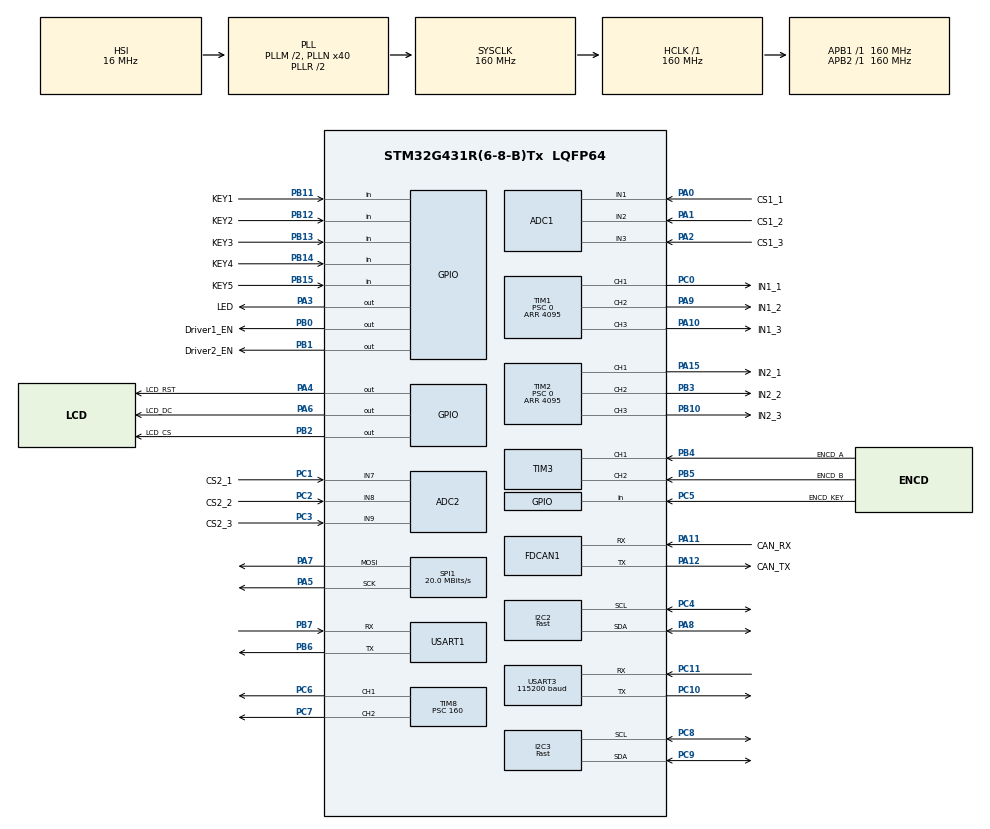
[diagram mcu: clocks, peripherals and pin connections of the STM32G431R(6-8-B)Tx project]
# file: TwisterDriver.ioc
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ADC1.Channel-3\#ChannelRegularConversion=ADC_CHANNEL_1
ADC1.Channel-4\#ChannelRegularConversion=ADC_CHANNEL_2
ADC1.Channel-5\#ChannelRegularConversion=ADC_CHANNEL_3
ADC1.ClockPrescaler=ADC_CLOCK_ASYNC_DIV10
ADC1.DiscontinuousConvMode=ENABLE
ADC1.NbrOfConversion=3
ADC1.NbrOfConversionFlag=1
ADC1.OffsetNumber-3\#ChannelRegularConversion=ADC_OFFSET_NONE
ADC1.OffsetNumber-4\#ChannelRegularConversion=ADC_OFFSET_NONE
ADC1.OffsetNumber-5\#ChannelRegularConversion=ADC_OFFSET_NONE
ADC1.Rank-3\#ChannelRegularConversion=1
ADC1.Rank-4\#ChannelRegularConversion=2
ADC1.Rank-5\#ChannelRegularConversion=3
ADC1.SamplingTime-3\#ChannelRegularConversion=ADC_SAMPLETIME_12CYCLES_5
ADC1.SamplingTime-4\#ChannelRegularConversion=ADC_SAMPLETIME_12CYCLES_5
ADC1.SamplingTime-5\#ChannelRegularConversion=ADC_SAMPLETIME_12CYCLES_5
ADC1.master=1
ADC2.Channel-0\#ChannelRegularConversion=ADC_CHANNEL_7
ADC2.Channel-1\#ChannelRegularConversion=ADC_CHANNEL_8
ADC2.Channel-2\#ChannelRegularConversion=ADC_CHANNEL_9
ADC2.ClockPrescaler=ADC_CLOCK_ASYNC_DIV10
ADC2.ContinuousConvMode=DISABLE
ADC2.DiscontinuousConvMode=ENABLE
ADC2.NbrOfConversion=3
ADC2.NbrOfConversionFlag=1
ADC2.OffsetNumber-0\#ChannelRegularConversion=ADC_OFFSET_NONE
ADC2.OffsetNumber-1\#ChannelRegularConversion=ADC_OFFSET_NONE
ADC2.OffsetNumber-2\#ChannelRegularConversion=ADC_OFFSET_NONE
ADC2.Rank-0\#ChannelRegularConversion=1
ADC2.Rank-1\#ChannelRegularConversion=2
ADC2.Rank-2\#ChannelRegularConversion=3
ADC2.SamplingTime-0\#ChannelRegularConversion=ADC_SAMPLETIME_6CYCLES_5
ADC2.SamplingTime-1\#ChannelRegularConversion=ADC_SAMPLETIME_6CYCLES_5
ADC2.SamplingTime-2\#ChannelRegularConversion=ADC_SAMPLETIME_6CYCLES_5
Dma.ADC2.2.Direction=DMA_PERIPH_TO_MEMORY
Dma.ADC2.2.EventEnable=DISABLE
Dma.ADC2.2.Instance=DMA1_Channel4
Dma.ADC2.2.MemDataAlignment=DMA_MDATAALIGN_HALFWORD
Dma.ADC2.2.MemInc=DMA_MINC_ENABLE
Dma.ADC2.2.Mode=DMA_NORMAL
Dma.ADC2.2.PeriphDataAlignment=DMA_PDATAALIGN_HALFWORD
Dma.ADC2.2.PeriphInc=DMA_PINC_DISABLE
Dma.ADC2.2.Polarity=HAL_DMAMUX_REQ_GEN_RISING
Dma.ADC2.2.Priority=DMA_PRIORITY_LOW
Dma.ADC2.2.RequestNumber=1
Dma.ADC2.2.SignalID=NONE
Dma.ADC2.2.SyncEnable=DISABLE
Dma.ADC2.2.SyncPolarity=HAL_DMAMUX_SYNC_NO_EVENT
Dma.ADC2.2.SyncRequestNumber=1
Dma.ADC2.2.SyncSignalID=NONE
Dma.Request0=SPI1_TX
Dma.Request1=USART3_RX
Dma.Request2=ADC2
Dma.SPI1_TX.0.Direction=DMA_MEMORY_TO_PERIPH
Dma.SPI1_TX.0.EventEnable=DISABLE
Dma.SPI1_TX.0.Instance=DMA1_Channel1
Dma.SPI1_TX.0.MemDataAlignment=DMA_MDATAALIGN_BYTE
Dma.SPI1_TX.0.MemInc=DMA_MINC_ENABLE
Dma.SPI1_TX.0.Mode=DMA_NORMAL
Dma.SPI1_TX.0.PeriphDataAlignment=DMA_PDATAALIGN_BYTE
Dma.SPI1_TX.0.PeriphInc=DMA_PINC_DISABLE
Dma.SPI1_TX.0.Polarity=HAL_DMAMUX_REQ_GEN_RISING
Dma.SPI1_TX.0.Priority=DMA_PRIORITY_LOW
Dma.SPI1_TX.0.RequestNumber=1
Dma.SPI1_TX.0.SignalID=NONE
Dma.SPI1_TX.0.SyncEnable=DISABLE
Dma.SPI1_TX.0.SyncPolarity=HAL_DMAMUX_SYNC_NO_EVENT
Dma.SPI1_TX.0.SyncRequestNumber=1
Dma.SPI1_TX.0.SyncSignalID=NONE
Dma.USART3_RX.1.Direction=DMA_PERIPH_TO_MEMORY
Dma.USART3_RX.1.EventEnable=DISABLE
Dma.USART3_RX.1.Instance=DMA1_Channel2
Dma.USART3_RX.1.MemDataAlignment=DMA_MDATAALIGN_BYTE
Dma.USART3_RX.1.MemInc=DMA_MINC_ENABLE
Dma.USART3_RX.1.Mode=DMA_NORMAL
Dma.USART3_RX.1.PeriphDataAlignment=DMA_PDATAALIGN_BYTE
Dma.USART3_RX.1.PeriphInc=DMA_PINC_DISABLE
Dma.USART3_RX.1.Polarity=HAL_DMAMUX_REQ_GEN_RISING
Dma.USART3_RX.1.Priority=DMA_PRIORITY_LOW
Dma.USART3_RX.1.RequestNumber=1
Dma.USART3_RX.1.SignalID=NONE
Dma.USART3_RX.1.SyncEnable=DISABLE
Dma.USART3_RX.1.SyncPolarity=HAL_DMAMUX_SYNC_NO_EVENT
Dma.USART3_RX.1.SyncRequestNumber=1
Dma.USART3_RX.1.SyncSignalID=NONE
FDCAN1.CalculateBaudRateNominal=2000000
FDCAN1.CalculateTimeBitNominal=500
FDCAN1.CalculateTimeQuantumNominal=100.0
FREERTOS.Tasks01=defaultTask,0,128,StartDefaultTask,Default,NULL,Dynamic,NULL,NULL
FREERTOS.configENABLE_FPU=1
FREERTOS.configTOTAL_HEAP_SIZE=2048 * 10
I2C2.I2C_Speed_Mode=I2C_Fast
I2C2.Timing=0x00F07BFF
I2C3.I2C_Speed_Mode=I2C_Fast
I2C3.Timing=0x00F07BFF
Mcu.Family=STM32G4
Mcu.Name=STM32G431R(6-8-B)Tx
Mcu.Package=LQFP64
NVIC.DMA1_Channel1_IRQn=true\:5\:0\:false\:false\:true\:true\:false\:true\:true
NVIC.DMA1_Channel2_IRQn=true\:5\:0\:false\:false\:true\:true\:false\:true\:true
NVIC.DMA1_Channel4_IRQn=true\:5\:0\:false\:false\:true\:true\:false\:true\:true
NVIC.PriorityGroup=NVIC_PRIORITYGROUP_4
NVIC.TIM7_IRQn=true\:5\:0\:false\:false\:true\:true\:true\:true\:true
NVIC.USART1_IRQn=true\:6\:0\:true\:false\:true\:true\:true\:true\:true
NVIC.USART3_IRQn=true\:6\:0\:true\:false\:true\:true\:true\:true\:true
PA0.GPIO_Label=CS1_1
PA0.Signal=SharedAnalog_PA0
PA1.GPIO_Label=CS1_2
PA1.Signal=SharedAnalog_PA1
PA10.GPIO_Label=IN1_3
PA10.Signal=S_TIM1_CH3
PA11.GPIO_Label=CAN_RX
PA11.Mode=FDCAN_Activate
PA11.Signal=FDCAN1_RX
PA12.GPIO_Label=CAN_TX
PA12.Mode=FDCAN_Activate
PA12.Signal=FDCAN1_TX
PA13.Mode=Serial_Wire
PA13.Signal=SYS_JTMS-SWDIO
PA14.Mode=Serial_Wire
PA14.Signal=SYS_JTCK-SWCLK
PA15.GPIO_Label=IN2_1
PA15.Signal=S_TIM2_CH1
PA2.GPIO_Label=CS1_3
PA2.Signal=SharedAnalog_PA2
PA3.GPIO_Label=LED
PA3.Signal=GPIO_Output
PA4.GPIO_Label=LCD_RST
PA4.Signal=GPIO_Output
PA5.GPIO_PuPd=GPIO_PULLUP
PA5.GPIO_Speed=GPIO_SPEED_FREQ_HIGH
PA5.Mode=TX_Only_Simplex_Unidirect_Master
PA5.Signal=SPI1_SCK
PA6.GPIO_Label=LCD_DC
PA6.Signal=GPIO_Output
PA7.GPIO_PuPd=GPIO_PULLUP
PA7.GPIO_Speed=GPIO_SPEED_FREQ_HIGH
PA7.Mode=TX_Only_Simplex_Unidirect_Master
PA7.Signal=SPI1_MOSI
PA8.Mode=I2C
PA8.Signal=I2C2_SDA
PA9.GPIO_Label=IN1_2
PA9.Signal=S_TIM1_CH2
PB0.GPIO_Label=Driver1_EN
PB0.Signal=GPIO_Output
PB1.GPIO_Label=Driver2_EN
PB1.Signal=GPIO_Output
PB10.GPIO_Label=IN2_3
PB10.Signal=S_TIM2_CH3
PB11.GPIO_Label=KEY1
PB11.GPIO_PuPd=GPIO_PULLUP
PB11.Signal=GPIO_Input
PB12.GPIO_Label=KEY2
PB12.GPIO_PuPd=GPIO_PULLUP
PB12.Signal=GPIO_Input
PB13.GPIO_Label=KEY3
PB13.GPIO_PuPd=GPIO_PULLUP
PB13.Signal=GPIO_Input
PB14.GPIO_Label=KEY4
PB14.GPIO_PuPd=GPIO_PULLUP
PB14.Signal=GPIO_Input
PB15.GPIO_Label=KEY5
PB15.GPIO_PuPd=GPIO_PULLUP
PB15.Signal=GPIO_Input
PB2.GPIO_Label=LCD_CS
PB2.Signal=GPIO_Output
PB3.GPIO_Label=IN2_2
PB3.Signal=S_TIM2_CH2
PB4.GPIO_Label=ENCD_A
PB4.GPIO_PuPd=GPIO_PULLUP
PB4.Signal=S_TIM3_CH1
PB5.GPIO_Label=ENCD_B
PB5.GPIO_PuPd=GPIO_PULLUP
PB5.Signal=S_TIM3_CH2
PB6.GPIO_Speed=GPIO_SPEED_FREQ_MEDIUM
PB6.Mode=Asynchronous
PB6.Signal=USART1_TX
PB7.GPIO_Speed=GPIO_SPEED_FREQ_MEDIUM
PB7.Mode=Asynchronous
PB7.Signal=USART1_RX
PC0.GPIO_Label=IN1_1
PC0.Signal=S_TIM1_CH1
PC1.GPIO_Label=CS2_1
PC1.Mode=IN7-Single-Ended
PC1.Signal=ADC2_IN7
PC10.GPIO_Speed=GPIO_SPEED_FREQ_HIGH
PC10.Mode=Asynchronous
PC10.Signal=USART3_TX
PC11.GPIO_Speed=GPIO_SPEED_FREQ_HIGH
PC11.Mode=Asynchronous
PC11.Signal=USART3_RX
PC2.GPIO_Label=CS2_2
PC2.Mode=IN8-Single-Ended
PC2.Signal=ADC2_IN8
PC3.GPIO_Label=CS2_3
PC3.Mode=IN9-Single-Ended
PC3.Signal=ADC2_IN9
PC4.Mode=I2C
PC4.Signal=I2C2_SCL
PC5.GPIO_Label=ENCD_KEY
PC5.GPIO_PuPd=GPIO_PULLUP
PC5.Signal=GPIO_Input
PC6.Signal=S_TIM8_CH1
PC7.Signal=S_TIM8_CH2
PC8.Mode=I2C
PC8.Signal=I2C3_SCL
PC9.Mode=I2C
PC9.Signal=I2C3_SDA
PF0-OSC_IN.Mode=HSE-External-Oscillator
PF0-OSC_IN.Signal=RCC_OSC_IN
PF1-OSC_OUT.Mode=HSE-External-Oscillator
PF1-OSC_OUT.Signal=RCC_OSC_OUT
ProjectManager.HeapSize=0x200
ProjectManager.StackSize=0x400
ProjectManager.TargetToolchain=STM32CubeIDE
RCC.ADC12Freq_Value=160000000
RCC.AHBFreq_Value=160000000
RCC.APB1Freq_Value=160000000
RCC.APB1TimFreq_Value=160000000
RCC.APB2Freq_Value=160000000
RCC.APB2TimFreq_Value=160000000
RCC.CK48CLockSelection=RCC_USBCLKSOURCE_HSI48
RCC.CortexFreq_Value=160000000
RCC.EXTERNAL_CLOCK_VALUE=12288000
RCC.HCLKFreq_Value=160000000
RCC.HSE_VALUE=8000000
RCC.HSI48_VALUE=48000000
RCC.HSI_VALUE=16000000
RCC.LSE_VALUE=32768
RCC.PLLM=RCC_PLLM_DIV2
RCC.PLLN=40
RCC.SYSCLKFreq_VALUE=160000000
RCC.SYSCLKSource=RCC_SYSCLKSOURCE_PLLCLK
RCC.USBFreq_Value=48000000
RCC.VCOOutputFreq_Value=320000000
SH.S_TIM1_CH1.0=TIM1_CH1,PWM Generation1 CH1
SH.S_TIM1_CH2.0=TIM1_CH2,PWM Generation2 CH2
SH.S_TIM1_CH3.0=TIM1_CH3,PWM Generation3 CH3
SH.S_TIM2_CH1.0=TIM2_CH1,PWM Generation1 CH1
SH.S_TIM2_CH2.0=TIM2_CH2,PWM Generation2 CH2
SH.S_TIM2_CH3.0=TIM2_CH3,PWM Generation3 CH3
SH.S_TIM3_CH1.0=TIM3_CH1,Encoder_Interface
SH.S_TIM3_CH2.0=TIM3_CH2,Encoder_Interface
SH.S_TIM8_CH1.0=TIM8_CH1,PWM Generation1 CH1
SH.S_TIM8_CH2.0=TIM8_CH2,PWM Generation2 CH2
SH.SharedAnalog_PA0.0=ADC2_IN1
SH.SharedAnalog_PA0.1=ADC1_IN1,IN1-Single-Ended
SH.SharedAnalog_PA1.0=ADC2_IN2
SH.SharedAnalog_PA1.1=ADC1_IN2,IN2-Single-Ended
SH.SharedAnalog_PA2.0=GPIO_Analog
SH.SharedAnalog_PA2.1=ADC1_IN3,IN3-Single-Ended
SPI1.BaudRatePrescaler=SPI_BAUDRATEPRESCALER_8
SPI1.CLKPolarity=SPI_POLARITY_HIGH
SPI1.CalculateBaudRate=20.0 MBits/s
SPI1.DataSize=SPI_DATASIZE_8BIT
SPI1.Direction=SPI_DIRECTION_2LINES
SPI1.Mode=SPI_MODE_MASTER
SPI1.NSSPMode=SPI_NSS_PULSE_DISABLE
SPI1.VirtualType=VM_MASTER
TIM1.Channel-PWM\ Generation1\ CH1=TIM_CHANNEL_1
TIM1.Channel-PWM\ Generation2\ CH2=TIM_CHANNEL_2
TIM1.Channel-PWM\ Generation3\ CH3=TIM_CHANNEL_3
TIM1.CounterMode=TIM_COUNTERMODE_CENTERALIGNED2
TIM1.PeriodNoDither=4095
TIM1.Prescaler=0
TIM2.Channel-PWM\ Generation1\ CH1=TIM_CHANNEL_1
TIM2.Channel-PWM\ Generation2\ CH2=TIM_CHANNEL_2
TIM2.Channel-PWM\ Generation3\ CH3=TIM_CHANNEL_3
TIM2.CounterMode=TIM_COUNTERMODE_CENTERALIGNED2
TIM2.PeriodNoDither=4095
TIM2.Prescaler=0
TIM7.AutoReloadPreload=TIM_AUTORELOAD_PRELOAD_ENABLE
TIM7.PeriodNoDither=1000
TIM7.Prescaler=160
TIM8.Channel-PWM\ Generation1\ CH1=TIM_CHANNEL_1
TIM8.Channel-PWM\ Generation2\ CH2=TIM_CHANNEL_2
TIM8.PeriodNoDither=10000
TIM8.Prescaler=160
USART1.VirtualMode-Asynchronous=VM_ASYNC
USART3.BaudRate=115200
USART3.OneBitSampling=UART_ONE_BIT_SAMPLE_DISABLE
USART3.VirtualMode-Asynchronous=VM_ASYNC
VP_FREERTOS_VS_CMSIS_V1.Mode=CMSIS_V1
VP_SYS_VS_DBSignals.Mode=DisableDeadBatterySignals
VP_TIM7_VS_ClockSourceINT.Mode=Enable_Timer
board=custom

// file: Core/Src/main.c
/* USER CODE BEGIN Header */
/**
  ******************************************************************************
  * @file           : main.c
  * @brief          : Main program body
  ******************************************************************************
  * @attention
  *
  * Copyright (c) 2023 STMicroelectronics.
  * All rights reserved.
  *
  * This software is licensed under terms that can be found in the LICENSE file
  * in the root directory of this software component.
  * If no LICENSE file comes with this software, it is provided AS-IS.
  *
  ******************************************************************************
  */
/* USER CODE END Header */
#include "main.h"
#include "cmsis_os.h"

ADC_HandleTypeDef hadc1;
ADC_HandleTypeDef hadc2;
DMA_HandleTypeDef hdma_adc2;

FDCAN_HandleTypeDef hfdcan1;

I2C_HandleTypeDef hi2c2;
I2C_HandleTypeDef hi2c3;

SPI_HandleTypeDef hspi1;
DMA_HandleTypeDef hdma_spi1_tx;

TIM_HandleTypeDef htim1;
TIM_HandleTypeDef htim2;
TIM_HandleTypeDef htim3;
TIM_HandleTypeDef htim7;
TIM_HandleTypeDef htim8;

UART_HandleTypeDef huart1;
UART_HandleTypeDef huart3;
DMA_HandleTypeDef hdma_usart3_rx;

osThreadId defaultTaskHandle;
/* USER CODE BEGIN PV */
t_sysLog sysLog = {
        .name = "TwisterRobot v1.0",
        .lastUpgradeTime = __DATE__,
        .sysRunTime = 0,
        .beatTime_ms = 1000
};
/* USER CODE END PV */

void SystemClock_Config(void);
static void MX_GPIO_Init(void);
static void MX_DMA_Init(void);
static void MX_ADC1_Init(void);
static void MX_ADC2_Init(void);
static void MX_FDCAN1_Init(void);
static void MX_I2C2_Init(void);
static void MX_SPI1_Init(void);
static void MX_TIM1_Init(void);
static void MX_TIM2_Init(void);
static void MX_USART1_UART_Init(void);
static void MX_TIM3_Init(void);
static void MX_I2C3_Init(void);
static void MX_TIM8_Init(void);
static void MX_USART3_UART_Init(void);
static void MX_TIM7_Init(void);
void StartDefaultTask(void const * argument);

/* USER CODE BEGIN PFP */
void ButtonTask(void const *argument);

void LCDTask(void const *argument);

void UARTTask(void const *argument);

void CANTask(void const *argument);

void FOCTask(void const *argument);

void ServoTask(void const *argument);
/* USER CODE END PFP */

/* USER CODE BEGIN 0 */
osThreadId ButtonTaskHandle;
osThreadId LCDTaskHandle;
osThreadId UARTTaskHandle;
osThreadId CANTaskHandle;
osThreadId FOCTaskHandle;
osThreadId ServoTaskHandle;

osMutexDef(printfMutex);
osMutexId printfMutex;

osPoolDef(JsonQ_Mem, 16, t_JsonPackage);
osMessageQDef(JsonQueue, 16, uint32_t);
osPoolId JsonQ_Mem;
osMessageQId JsonQueueHandle;

#define UART_STARTFLAG '{'
#define UART_ENDFLAG '}'

void HAL_UART_RxCpltCallback(UART_HandleTypeDef *huart){
    if(huart == &huart3){
        static int uart3_RxFlag, uart3_RxStatus;
        switch(uart3_RxStatus){
            case 0:
                if(uart3Buffer[uart3_RxFlag] == UART_STARTFLAG){
                    uart3_RxFlag++;
                    uart3_RxStatus = 1;
                }else{
                    memset(uart3Buffer, 0, sizeof(uart3Buffer));
                }
                break;
            case 1:
                if(uart3Buffer[uart3_RxFlag] != UART_ENDFLAG){
                    uart3_RxFlag++;
                }else{
                    memset(&uart3Buffer[uart3_RxFlag + 1], 0, sizeof(uart3Buffer) - uart3_RxFlag);
                    uart3_RxFlag = 0;
                    uart3_RxStatus = 0;

                    t_JsonPackage *JsonPtr = osPoolAlloc(JsonQ_Mem);
                    JsonPtr->JsonString = uart3Buffer;
                    osMessagePut(JsonQueueHandle, (uint32_t)JsonPtr, 0);
                }
                break;
            default:
                break;
        }
        HAL_UART_Receive_IT(&huart3, (uint8_t*)&uart3Buffer[uart3_RxFlag], 1);
    }
}
/* USER CODE END 0 */

int main(void)
{

  /* MCU Configuration--------------------------------------------------------*/

  /* Reset of all peripherals, Initializes the Flash interface and the Systick. */
  HAL_Init();

  /* Configure the system clock */
  SystemClock_Config();

  /* Initialize all configured peripherals */
  MX_GPIO_Init();
  MX_DMA_Init();
  MX_ADC1_Init();
  MX_ADC2_Init();
  MX_FDCAN1_Init();
  MX_I2C2_Init();
  MX_SPI1_Init();
  MX_TIM1_Init();
  MX_TIM2_Init();
  MX_USART1_UART_Init();
  MX_TIM3_Init();
  MX_I2C3_Init();
  MX_TIM8_Init();
  MX_USART3_UART_Init();
  MX_TIM7_Init();
  /* USER CODE BEGIN 2 */
//    NVIC_SetPriorityGrouping(0);
  /* USER CODE END 2 */

  /* USER CODE BEGIN RTOS_MUTEX */
    /* add mutexes, ... */
    printfMutex = osMutexCreate(osMutex(printfMutex));
  /* USER CODE END RTOS_MUTEX */

  /* USER CODE BEGIN RTOS_QUEUES */
    /* add queues, ... */
    JsonQ_Mem = osPoolCreate(osPool(JsonQ_Mem));
    JsonQueueHandle = osMessageCreate(osMessageQ(JsonQueue), NULL);
  /* USER CODE END RTOS_QUEUES */

  /* Create the thread(s) */
  /* definition and creation of defaultTask */
  osThreadDef(defaultTask, StartDefaultTask, osPriorityNormal, 0, 128);
  defaultTaskHandle = osThreadCreate(osThread(defaultTask), NULL);

  /* Start scheduler */
  osKernelStart();
  /* We should never get here as control is now taken by the scheduler */
  /* Infinite loop */
    while (1) {

    }
}

void SystemClock_Config(void)
{
  RCC_OscInitTypeDef RCC_OscInitStruct = {0};
  RCC_ClkInitTypeDef RCC_ClkInitStruct = {0};

  /** Configure the main internal regulator output voltage
  */
  HAL_PWREx_ControlVoltageScaling(PWR_REGULATOR_VOLTAGE_SCALE1_BOOST);

  /** Initializes the RCC Oscillators according to the specified parameters
  * in the RCC_OscInitTypeDef structure.
  */
  RCC_OscInitStruct.OscillatorType = RCC_OSCILLATORTYPE_HSI;
  RCC_OscInitStruct.HSIState = RCC_HSI_ON;
  RCC_OscInitStruct.HSICalibrationValue = RCC_HSICALIBRATION_DEFAULT;
  RCC_OscInitStruct.PLL.PLLState = RCC_PLL_ON;
  RCC_OscInitStruct.PLL.PLLSource = RCC_PLLSOURCE_HSI;
  RCC_OscInitStruct.PLL.PLLM = RCC_PLLM_DIV2;
  RCC_OscInitStruct.PLL.PLLN = 40;
  RCC_OscInitStruct.PLL.PLLP = RCC_PLLP_DIV2;
  RCC_OscInitStruct.PLL.PLLQ = RCC_PLLQ_DIV2;
  RCC_OscInitStruct.PLL.PLLR = RCC_PLLR_DIV2;
  if (HAL_RCC_OscConfig(&RCC_OscInitStruct) != HAL_OK)
  {
    Error_Handler();
  }

  /** Initializes the CPU, AHB and APB buses clocks
  */
  RCC_ClkInitStruct.ClockType = RCC_CLOCKTYPE_HCLK|RCC_CLOCKTYPE_SYSCLK
                              |RCC_CLOCKTYPE_PCLK1|RCC_CLOCKTYPE_PCLK2;
  RCC_ClkInitStruct.SYSCLKSource = RCC_SYSCLKSOURCE_PLLCLK;
  RCC_ClkInitStruct.AHBCLKDivider = RCC_SYSCLK_DIV1;
  RCC_ClkInitStruct.APB1CLKDivider = RCC_HCLK_DIV1;
  RCC_ClkInitStruct.APB2CLKDivider = RCC_HCLK_DIV1;

  if (HAL_RCC_ClockConfig(&RCC_ClkInitStruct, FLASH_LATENCY_4) != HAL_OK)
  {
    Error_Handler();
  }
}

static void MX_ADC1_Init(void)
{

  ADC_MultiModeTypeDef multimode = {0};
  ADC_ChannelConfTypeDef sConfig = {0};

  /** Common config
  */
  hadc1.Instance = ADC1;
  hadc1.Init.ClockPrescaler = ADC_CLOCK_ASYNC_DIV10;
  hadc1.Init.Resolution = ADC_RESOLUTION_12B;
  hadc1.Init.DataAlign = ADC_DATAALIGN_RIGHT;
  hadc1.Init.GainCompensation = 0;
  hadc1.Init.ScanConvMode = ADC_SCAN_ENABLE;
  hadc1.Init.EOCSelection = ADC_EOC_SINGLE_CONV;
  hadc1.Init.LowPowerAutoWait = DISABLE;
  hadc1.Init.ContinuousConvMode = DISABLE;
  hadc1.Init.NbrOfConversion = 3;
  hadc1.Init.DiscontinuousConvMode = ENABLE;
  hadc1.Init.NbrOfDiscConversion = 1;
  hadc1.Init.ExternalTrigConv = ADC_SOFTWARE_START;
  hadc1.Init.ExternalTrigConvEdge = ADC_EXTERNALTRIGCONVEDGE_NONE;
  hadc1.Init.DMAContinuousRequests = DISABLE;
  hadc1.Init.Overrun = ADC_OVR_DATA_PRESERVED;
  hadc1.Init.OversamplingMode = DISABLE;
  if (HAL_ADC_Init(&hadc1) != HAL_OK)
  {
    Error_Handler();
  }

  /** Configure the ADC multi-mode
  */
  multimode.Mode = ADC_MODE_INDEPENDENT;
  if (HAL_ADCEx_MultiModeConfigChannel(&hadc1, &multimode) != HAL_OK)
  {
    Error_Handler();
  }

  /** Configure Regular Channel
  */
  sConfig.Channel = ADC_CHANNEL_1;
  sConfig.Rank = ADC_REGULAR_RANK_1;
  sConfig.SamplingTime = ADC_SAMPLETIME_12CYCLES_5;
  sConfig.SingleDiff = ADC_SINGLE_ENDED;
  sConfig.OffsetNumber = ADC_OFFSET_NONE;
  sConfig.Offset = 0;
  if (HAL_ADC_ConfigChannel(&hadc1, &sConfig) != HAL_OK)
  {
    Error_Handler();
  }

  /** Configure Regular Channel
  */
  sConfig.Channel = ADC_CHANNEL_2;
  sConfig.Rank = ADC_REGULAR_RANK_2;
  if (HAL_ADC_ConfigChannel(&hadc1, &sConfig) != HAL_OK)
  {
    Error_Handler();
  }

  /** Configure Regular Channel
  */
  sConfig.Channel = ADC_CHANNEL_3;
  sConfig.Rank = ADC_REGULAR_RANK_3;
  if (HAL_ADC_ConfigChannel(&hadc1, &sConfig) != HAL_OK)
  {
    Error_Handler();
  }

}

static void MX_ADC2_Init(void)
{

  ADC_ChannelConfTypeDef sConfig = {0};

  /** Common config
  */
  hadc2.Instance = ADC2;
  hadc2.Init.ClockPrescaler = ADC_CLOCK_ASYNC_DIV10;
  hadc2.Init.Resolution = ADC_RESOLUTION_12B;
  hadc2.Init.DataAlign = ADC_DATAALIGN_RIGHT;
  hadc2.Init.GainCompensation = 0;
  hadc2.Init.ScanConvMode = ADC_SCAN_ENABLE;
  hadc2.Init.EOCSelection = ADC_EOC_SINGLE_CONV;
  hadc2.Init.LowPowerAutoWait = DISABLE;
  hadc2.Init.ContinuousConvMode = DISABLE;
  hadc2.Init.NbrOfConversion = 3;
  hadc2.Init.DiscontinuousConvMode = ENABLE;
  hadc2.Init.NbrOfDiscConversion = 1;
  hadc2.Init.ExternalTrigConv = ADC_SOFTWARE_START;
  hadc2.Init.ExternalTrigConvEdge = ADC_EXTERNALTRIGCONVEDGE_NONE;
  hadc2.Init.DMAContinuousRequests = DISABLE;
  hadc2.Init.Overrun = ADC_OVR_DATA_PRESERVED;
  hadc2.Init.OversamplingMode = DISABLE;
  if (HAL_ADC_Init(&hadc2) != HAL_OK)
  {
    Error_Handler();
  }

  /** Configure Regular Channel
  */
  sConfig.Channel = ADC_CHANNEL_7;
  sConfig.Rank = ADC_REGULAR_RANK_1;
  sConfig.SamplingTime = ADC_SAMPLETIME_6CYCLES_5;
  sConfig.SingleDiff = ADC_SINGLE_ENDED;
  sConfig.OffsetNumber = ADC_OFFSET_NONE;
  sConfig.Offset = 0;
  if (HAL_ADC_ConfigChannel(&hadc2, &sConfig) != HAL_OK)
  {
    Error_Handler();
  }

  /** Configure Regular Channel
  */
  sConfig.Channel = ADC_CHANNEL_8;
  sConfig.Rank = ADC_REGULAR_RANK_2;
  if (HAL_ADC_ConfigChannel(&hadc2, &sConfig) != HAL_OK)
  {
    Error_Handler();
  }

  /** Configure Regular Channel
  */
  sConfig.Channel = ADC_CHANNEL_9;
  sConfig.Rank = ADC_REGULAR_RANK_3;
  if (HAL_ADC_ConfigChannel(&hadc2, &sConfig) != HAL_OK)
  {
    Error_Handler();
  }

}

static void MX_FDCAN1_Init(void)
{

  hfdcan1.Instance = FDCAN1;
  hfdcan1.Init.ClockDivider = FDCAN_CLOCK_DIV1;
  hfdcan1.Init.FrameFormat = FDCAN_FRAME_CLASSIC;
  hfdcan1.Init.Mode = FDCAN_MODE_NORMAL;
  hfdcan1.Init.AutoRetransmission = DISABLE;
  hfdcan1.Init.TransmitPause = DISABLE;
  hfdcan1.Init.ProtocolException = DISABLE;
  hfdcan1.Init.NominalPrescaler = 16;
  hfdcan1.Init.NominalSyncJumpWidth = 1;
  hfdcan1.Init.NominalTimeSeg1 = 2;
  hfdcan1.Init.NominalTimeSeg2 = 2;
  hfdcan1.Init.DataPrescaler = 1;
  hfdcan1.Init.DataSyncJumpWidth = 1;
  hfdcan1.Init.DataTimeSeg1 = 1;
  hfdcan1.Init.DataTimeSeg2 = 1;
  hfdcan1.Init.StdFiltersNbr = 0;
  hfdcan1.Init.ExtFiltersNbr = 0;
  hfdcan1.Init.TxFifoQueueMode = FDCAN_TX_FIFO_OPERATION;
  if (HAL_FDCAN_Init(&hfdcan1) != HAL_OK)
  {
    Error_Handler();
  }

}

static void MX_I2C2_Init(void)
{

  hi2c2.Instance = I2C2;
  hi2c2.Init.Timing = 0x00F07BFF;
  hi2c2.Init.OwnAddress1 = 0;
  hi2c2.Init.AddressingMode = I2C_ADDRESSINGMODE_7BIT;
  hi2c2.Init.DualAddressMode = I2C_DUALADDRESS_DISABLE;
  hi2c2.Init.OwnAddress2 = 0;
  hi2c2.Init.OwnAddress2Masks = I2C_OA2_NOMASK;
  hi2c2.Init.GeneralCallMode = I2C_GENERALCALL_DISABLE;
  hi2c2.Init.NoStretchMode = I2C_NOSTRETCH_DISABLE;
  if (HAL_I2C_Init(&hi2c2) != HAL_OK)
  {
    Error_Handler();
  }

  /** Configure Analogue filter
  */
  if (HAL_I2CEx_ConfigAnalogFilter(&hi2c2, I2C_ANALOGFILTER_ENABLE) != HAL_OK)
  {
    Error_Handler();
  }

  /** Configure Digital filter
  */
  if (HAL_I2CEx_ConfigDigitalFilter(&hi2c2, 0) != HAL_OK)
  {
    Error_Handler();
  }

}

static void MX_I2C3_Init(void)
{

  hi2c3.Instance = I2C3;
  hi2c3.Init.Timing = 0x00F07BFF;
  hi2c3.Init.OwnAddress1 = 0;
  hi2c3.Init.AddressingMode = I2C_ADDRESSINGMODE_7BIT;
  hi2c3.Init.DualAddressMode = I2C_DUALADDRESS_DISABLE;
  hi2c3.Init.OwnAddress2 = 0;
  hi2c3.Init.OwnAddress2Masks = I2C_OA2_NOMASK;
  hi2c3.Init.GeneralCallMode = I2C_GENERALCALL_DISABLE;
  hi2c3.Init.NoStretchMode = I2C_NOSTRETCH_DISABLE;
  if (HAL_I2C_Init(&hi2c3) != HAL_OK)
  {
    Error_Handler();
  }

  /** Configure Analogue filter
  */
  if (HAL_I2CEx_ConfigAnalogFilter(&hi2c3, I2C_ANALOGFILTER_ENABLE) != HAL_OK)
  {
    Error_Handler();
  }

  /** Configure Digital filter
  */
  if (HAL_I2CEx_ConfigDigitalFilter(&hi2c3, 0) != HAL_OK)
  {
    Error_Handler();
  }

}

static void MX_SPI1_Init(void)
{

  /* SPI1 parameter configuration*/
  hspi1.Instance = SPI1;
  hspi1.Init.Mode = SPI_MODE_MASTER;
  hspi1.Init.Direction = SPI_DIRECTION_2LINES;
  hspi1.Init.DataSize = SPI_DATASIZE_8BIT;
  hspi1.Init.CLKPolarity = SPI_POLARITY_HIGH;
  hspi1.Init.CLKPhase = SPI_PHASE_1EDGE;
  hspi1.Init.NSS = SPI_NSS_SOFT;
  hspi1.Init.BaudRatePrescaler = SPI_BAUDRATEPRESCALER_8;
  hspi1.Init.FirstBit = SPI_FIRSTBIT_MSB;
  hspi1.Init.TIMode = SPI_TIMODE_DISABLE;
  hspi1.Init.CRCCalculation = SPI_CRCCALCULATION_DISABLE;
  hspi1.Init.CRCPolynomial = 7;
  hspi1.Init.CRCLength = SPI_CRC_LENGTH_DATASIZE;
  hspi1.Init.NSSPMode = SPI_NSS_PULSE_DISABLE;
  if (HAL_SPI_Init(&hspi1) != HAL_OK)
  {
    Error_Handler();
  }

}

static void MX_TIM1_Init(void)
{

  TIM_MasterConfigTypeDef sMasterConfig = {0};
  TIM_OC_InitTypeDef sConfigOC = {0};
  TIM_BreakDeadTimeConfigTypeDef sBreakDeadTimeConfig = {0};

  htim1.Instance = TIM1;
  htim1.Init.Prescaler = 0;
  htim1.Init.CounterMode = TIM_COUNTERMODE_CENTERALIGNED2;
  htim1.Init.Period = 4095;
  htim1.Init.ClockDivision = TIM_CLOCKDIVISION_DIV1;
  htim1.Init.RepetitionCounter = 0;
  htim1.Init.AutoReloadPreload = TIM_AUTORELOAD_PRELOAD_DISABLE;
  if (HAL_TIM_PWM_Init(&htim1) != HAL_OK)
  {
    Error_Handler();
  }
  sMasterConfig.MasterOutputTrigger = TIM_TRGO_RESET;
  sMasterConfig.MasterOutputTrigger2 = TIM_TRGO2_RESET;
  sMasterConfig.MasterSlaveMode = TIM_MASTERSLAVEMODE_DISABLE;
  if (HAL_TIMEx_MasterConfigSynchronization(&htim1, &sMasterConfig) != HAL_OK)
  {
    Error_Handler();
  }
  sConfigOC.OCMode = TIM_OCMODE_PWM1;
  sConfigOC.Pulse = 0;
  sConfigOC.OCPolarity = TIM_OCPOLARITY_HIGH;
  sConfigOC.OCNPolarity = TIM_OCNPOLARITY_HIGH;
  sConfigOC.OCFastMode = TIM_OCFAST_DISABLE;
  sConfigOC.OCIdleState = TIM_OCIDLESTATE_RESET;
  sConfigOC.OCNIdleState = TIM_OCNIDLESTATE_RESET;
  if (HAL_TIM_PWM_ConfigChannel(&htim1, &sConfigOC, TIM_CHANNEL_1) != HAL_OK)
  {
    Error_Handler();
  }
  if (HAL_TIM_PWM_ConfigChannel(&htim1, &sConfigOC, TIM_CHANNEL_2) != HAL_OK)
  {
    Error_Handler();
  }
  if (HAL_TIM_PWM_ConfigChannel(&htim1, &sConfigOC, TIM_CHANNEL_3) != HAL_OK)
  {
    Error_Handler();
  }
  sBreakDeadTimeConfig.OffStateRunMode = TIM_OSSR_DISABLE;
  sBreakDeadTimeConfig.OffStateIDLEMode = TIM_OSSI_DISABLE;
  sBreakDeadTimeConfig.LockLevel = TIM_LOCKLEVEL_OFF;
  sBreakDeadTimeConfig.DeadTime = 0;
  sBreakDeadTimeConfig.BreakState = TIM_BREAK_DISABLE;
  sBreakDeadTimeConfig.BreakPolarity = TIM_BREAKPOLARITY_HIGH;
  sBreakDeadTimeConfig.BreakFilter = 0;
  sBreakDeadTimeConfig.BreakAFMode = TIM_BREAK_AFMODE_INPUT;
  sBreakDeadTimeConfig.Break2State = TIM_BREAK2_DISABLE;
  sBreakDeadTimeConfig.Break2Polarity = TIM_BREAK2POLARITY_HIGH;
  sBreakDeadTimeConfig.Break2Filter = 0;
  sBreakDeadTimeConfig.Break2AFMode = TIM_BREAK_AFMODE_INPUT;
  sBreakDeadTimeConfig.AutomaticOutput = TIM_AUTOMATICOUTPUT_DISABLE;
  if (HAL_TIMEx_ConfigBreakDeadTime(&htim1, &sBreakDeadTimeConfig) != HAL_OK)
  {
    Error_Handler();
  }
  HAL_TIM_MspPostInit(&htim1);

}

static void MX_TIM2_Init(void)
{

  TIM_MasterConfigTypeDef sMasterConfig = {0};
  TIM_OC_InitTypeDef sConfigOC = {0};

  htim2.Instance = TIM2;
  htim2.Init.Prescaler = 0;
  htim2.Init.CounterMode = TIM_COUNTERMODE_CENTERALIGNED2;
  htim2.Init.Period = 4095;
  htim2.Init.ClockDivision = TIM_CLOCKDIVISION_DIV1;
  htim2.Init.AutoReloadPreload = TIM_AUTORELOAD_PRELOAD_DISABLE;
  if (HAL_TIM_PWM_Init(&htim2) != HAL_OK)
  {
    Error_Handler();
  }
  sMasterConfig.MasterOutputTrigger = TIM_TRGO_RESET;
  sMasterConfig.MasterSlaveMode = TIM_MASTERSLAVEMODE_DISABLE;
  if (HAL_TIMEx_MasterConfigSynchronization(&htim2, &sMasterConfig) != HAL_OK)
  {
    Error_Handler();
  }
  sConfigOC.OCMode = TIM_OCMODE_PWM1;
  sConfigOC.Pulse = 0;
  sConfigOC.OCPolarity = TIM_OCPOLARITY_HIGH;
  sConfigOC.OCFastMode = TIM_OCFAST_DISABLE;
  if (HAL_TIM_PWM_ConfigChannel(&htim2, &sConfigOC, TIM_CHANNEL_1) != HAL_OK)
  {
    Error_Handler();
  }
  if (HAL_TIM_PWM_ConfigChannel(&htim2, &sConfigOC, TIM_CHANNEL_2) != HAL_OK)
  {
    Error_Handler();
  }
  if (HAL_TIM_PWM_ConfigChannel(&htim2, &sConfigOC, TIM_CHANNEL_3) != HAL_OK)
  {
    Error_Handler();
  }
  HAL_TIM_MspPostInit(&htim2);

}

static void MX_TIM3_Init(void)
{

  TIM_Encoder_InitTypeDef sConfig = {0};
  TIM_MasterConfigTypeDef sMasterConfig = {0};

  htim3.Instance = TIM3;
  htim3.Init.Prescaler = 0;
  htim3.Init.CounterMode = TIM_COUNTERMODE_UP;
  htim3.Init.Period = 65535;
  htim3.Init.ClockDivision = TIM_CLOCKDIVISION_DIV1;
  htim3.Init.AutoReloadPreload = TIM_AUTORELOAD_PRELOAD_DISABLE;
  sConfig.EncoderMode = TIM_ENCODERMODE_TI1;
  sConfig.IC1Polarity = TIM_ICPOLARITY_RISING;
  sConfig.IC1Selection = TIM_ICSELECTION_DIRECTTI;
  sConfig.IC1Prescaler = TIM_ICPSC_DIV1;
  sConfig.IC1Filter = 0;
  sConfig.IC2Polarity = TIM_ICPOLARITY_RISING;
  sConfig.IC2Selection = TIM_ICSELECTION_DIRECTTI;
  sConfig.IC2Prescaler = TIM_ICPSC_DIV1;
  sConfig.IC2Filter = 0;
  if (HAL_TIM_Encoder_Init(&htim3, &sConfig) != HAL_OK)
  {
    Error_Handler();
  }
  sMasterConfig.MasterOutputTrigger = TIM_TRGO_RESET;
  sMasterConfig.MasterSlaveMode = TIM_MASTERSLAVEMODE_DISABLE;
  if (HAL_TIMEx_MasterConfigSynchronization(&htim3, &sMasterConfig) != HAL_OK)
  {
    Error_Handler();
  }

}

static void MX_TIM7_Init(void)
{

  TIM_MasterConfigTypeDef sMasterConfig = {0};

  htim7.Instance = TIM7;
  htim7.Init.Prescaler = 160;
  htim7.Init.CounterMode = TIM_COUNTERMODE_UP;
  htim7.Init.Period = 1000;
  htim7.Init.AutoReloadPreload = TIM_AUTORELOAD_PRELOAD_ENABLE;
  if (HAL_TIM_Base_Init(&htim7) != HAL_OK)
  {
    Error_Handler();
  }
  sMasterConfig.MasterOutputTrigger = TIM_TRGO_RESET;
  sMasterConfig.MasterSlaveMode = TIM_MASTERSLAVEMODE_DISABLE;
  if (HAL_TIMEx_MasterConfigSynchronization(&htim7, &sMasterConfig) != HAL_OK)
  {
    Error_Handler();
  }

}

static void MX_TIM8_Init(void)
{

  TIM_MasterConfigTypeDef sMasterConfig = {0};
  TIM_OC_InitTypeDef sConfigOC = {0};
  TIM_BreakDeadTimeConfigTypeDef sBreakDeadTimeConfig = {0};

  htim8.Instance = TIM8;
  htim8.Init.Prescaler = 160;
  htim8.Init.CounterMode = TIM_COUNTERMODE_UP;
  htim8.Init.Period = 10000;
  htim8.Init.ClockDivision = TIM_CLOCKDIVISION_DIV1;
  htim8.Init.RepetitionCounter = 0;
  htim8.Init.AutoReloadPreload = TIM_AUTORELOAD_PRELOAD_DISABLE;
  if (HAL_TIM_PWM_Init(&htim8) != HAL_OK)
  {
    Error_Handler();
  }
  sMasterConfig.MasterOutputTrigger = TIM_TRGO_RESET;
  sMasterConfig.MasterOutputTrigger2 = TIM_TRGO2_RESET;
  sMasterConfig.MasterSlaveMode = TIM_MASTERSLAVEMODE_DISABLE;
  if (HAL_TIMEx_MasterConfigSynchronization(&htim8, &sMasterConfig) != HAL_OK)
  {
    Error_Handler();
  }
  sConfigOC.OCMode = TIM_OCMODE_PWM1;
  sConfigOC.Pulse = 0;
  sConfigOC.OCPolarity = TIM_OCPOLARITY_HIGH;
  sConfigOC.OCNPolarity = TIM_OCNPOLARITY_HIGH;
  sConfigOC.OCFastMode = TIM_OCFAST_DISABLE;
  sConfigOC.OCIdleState = TIM_OCIDLESTATE_RESET;
  sConfigOC.OCNIdleState = TIM_OCNIDLESTATE_RESET;
  if (HAL_TIM_PWM_ConfigChannel(&htim8, &sConfigOC, TIM_CHANNEL_1) != HAL_OK)
  {
    Error_Handler();
  }
  if (HAL_TIM_PWM_ConfigChannel(&htim8, &sConfigOC, TIM_CHANNEL_2) != HAL_OK)
  {
    Error_Handler();
  }
  sBreakDeadTimeConfig.OffStateRunMode = TIM_OSSR_DISABLE;
  sBreakDeadTimeConfig.OffStateIDLEMode = TIM_OSSI_DISABLE;
  sBreakDeadTimeConfig.LockLevel = TIM_LOCKLEVEL_OFF;
  sBreakDeadTimeConfig.DeadTime = 0;
  sBreakDeadTimeConfig.BreakState = TIM_BREAK_DISABLE;
  sBreakDeadTimeConfig.BreakPolarity = TIM_BREAKPOLARITY_HIGH;
  sBreakDeadTimeConfig.BreakFilter = 0;
  sBreakDeadTimeConfig.BreakAFMode = TIM_BREAK_AFMODE_INPUT;
  sBreakDeadTimeConfig.Break2State = TIM_BREAK2_DISABLE;
  sBreakDeadTimeConfig.Break2Polarity = TIM_BREAK2POLARITY_HIGH;
  sBreakDeadTimeConfig.Break2Filter = 0;
  sBreakDeadTimeConfig.Break2AFMode = TIM_BREAK_AFMODE_INPUT;
  sBreakDeadTimeConfig.AutomaticOutput = TIM_AUTOMATICOUTPUT_DISABLE;
  if (HAL_TIMEx_ConfigBreakDeadTime(&htim8, &sBreakDeadTimeConfig) != HAL_OK)
  {
    Error_Handler();
  }
  HAL_TIM_MspPostInit(&htim8);

}

static void MX_USART1_UART_Init(void)
{

  huart1.Instance = USART1;
  huart1.Init.BaudRate = 115200;
  huart1.Init.WordLength = UART_WORDLENGTH_8B;
  huart1.Init.StopBits = UART_STOPBITS_1;
  huart1.Init.Parity = UART_PARITY_NONE;
  huart1.Init.Mode = UART_MODE_TX_RX;
  huart1.Init.HwFlowCtl = UART_HWCONTROL_NONE;
  huart1.Init.OverSampling = UART_OVERSAMPLING_16;
  huart1.Init.OneBitSampling = UART_ONE_BIT_SAMPLE_DISABLE;
  huart1.Init.ClockPrescaler = UART_PRESCALER_DIV1;
  huart1.AdvancedInit.AdvFeatureInit = UART_ADVFEATURE_NO_INIT;
  if (HAL_UART_Init(&huart1) != HAL_OK)
  {
    Error_Handler();
  }
  if (HAL_UARTEx_SetTxFifoThreshold(&huart1, UART_TXFIFO_THRESHOLD_1_8) != HAL_OK)
  {
    Error_Handler();
  }
  if (HAL_UARTEx_SetRxFifoThreshold(&huart1, UART_RXFIFO_THRESHOLD_1_8) != HAL_OK)
  {
    Error_Handler();
  }
  if (HAL_UARTEx_DisableFifoMode(&huart1) != HAL_OK)
  {
    Error_Handler();
  }

}

static void MX_USART3_UART_Init(void)
{

  huart3.Instance = USART3;
  huart3.Init.BaudRate = 115200;
  huart3.Init.WordLength = UART_WORDLENGTH_8B;
  huart3.Init.StopBits = UART_STOPBITS_1;
  huart3.Init.Parity = UART_PARITY_NONE;
  huart3.Init.Mode = UART_MODE_TX_RX;
  huart3.Init.HwFlowCtl = UART_HWCONTROL_NONE;
  huart3.Init.OverSampling = UART_OVERSAMPLING_16;
  huart3.Init.OneBitSampling = UART_ONE_BIT_SAMPLE_DISABLE;
  huart3.Init.ClockPrescaler = UART_PRESCALER_DIV1;
  huart3.AdvancedInit.AdvFeatureInit = UART_ADVFEATURE_NO_INIT;
  if (HAL_UART_Init(&huart3) != HAL_OK)
  {
    Error_Handler();
  }
  if (HAL_UARTEx_SetTxFifoThreshold(&huart3, UART_TXFIFO_THRESHOLD_1_8) != HAL_OK)
  {
    Error_Handler();
  }
  if (HAL_UARTEx_SetRxFifoThreshold(&huart3, UART_RXFIFO_THRESHOLD_1_8) != HAL_OK)
  {
    Error_Handler();
  }
  if (HAL_UARTEx_DisableFifoMode(&huart3) != HAL_OK)
  {
    Error_Handler();
  }

}

static void MX_DMA_Init(void)
{

  /* DMA controller clock enable */
  __HAL_RCC_DMAMUX1_CLK_ENABLE();
  __HAL_RCC_DMA1_CLK_ENABLE();

  /* DMA interrupt init */
  /* DMA1_Channel1_IRQn interrupt configuration */
  HAL_NVIC_SetPriority(DMA1_Channel1_IRQn, 5, 0);
  HAL_NVIC_EnableIRQ(DMA1_Channel1_IRQn);
  /* DMA1_Channel2_IRQn interrupt configuration */
  HAL_NVIC_SetPriority(DMA1_Channel2_IRQn, 5, 0);
  HAL_NVIC_EnableIRQ(DMA1_Channel2_IRQn);
  /* DMA1_Channel4_IRQn interrupt configuration */
  HAL_NVIC_SetPriority(DMA1_Channel4_IRQn, 5, 0);
  HAL_NVIC_EnableIRQ(DMA1_Channel4_IRQn);

}

static void MX_GPIO_Init(void)
{
  GPIO_InitTypeDef GPIO_InitStruct = {0};

  /* GPIO Ports Clock Enable */
  __HAL_RCC_GPIOF_CLK_ENABLE();
  __HAL_RCC_GPIOC_CLK_ENABLE();
  __HAL_RCC_GPIOA_CLK_ENABLE();
  __HAL_RCC_GPIOB_CLK_ENABLE();

  /*Configure GPIO pin Output Level */
  HAL_GPIO_WritePin(GPIOA, LED_Pin|LCD_RST_Pin|LCD_DC_Pin, GPIO_PIN_RESET);

  /*Configure GPIO pin Output Level */
  HAL_GPIO_WritePin(GPIOB, Driver1_EN_Pin|Driver2_EN_Pin|LCD_CS_Pin, GPIO_PIN_RESET);

  /*Configure GPIO pins : LED_Pin LCD_RST_Pin LCD_DC_Pin */
  GPIO_InitStruct.Pin = LED_Pin|LCD_RST_Pin|LCD_DC_Pin;
  GPIO_InitStruct.Mode = GPIO_MODE_OUTPUT_PP;
  GPIO_InitStruct.Pull = GPIO_NOPULL;
  GPIO_InitStruct.Speed = GPIO_SPEED_FREQ_LOW;
  HAL_GPIO_Init(GPIOA, &GPIO_InitStruct);

  /*Configure GPIO pin : ENCD_KEY_Pin */
  GPIO_InitStruct.Pin = ENCD_KEY_Pin;
  GPIO_InitStruct.Mode = GPIO_MODE_INPUT;
  GPIO_InitStruct.Pull = GPIO_PULLUP;
  HAL_GPIO_Init(ENCD_KEY_GPIO_Port, &GPIO_InitStruct);

  /*Configure GPIO pins : Driver1_EN_Pin Driver2_EN_Pin LCD_CS_Pin */
  GPIO_InitStruct.Pin = Driver1_EN_Pin|Driver2_EN_Pin|LCD_CS_Pin;
  GPIO_InitStruct.Mode = GPIO_MODE_OUTPUT_PP;
  GPIO_InitStruct.Pull = GPIO_NOPULL;
  GPIO_InitStruct.Speed = GPIO_SPEED_FREQ_LOW;
  HAL_GPIO_Init(GPIOB, &GPIO_InitStruct);

  /*Configure GPIO pins : KEY1_Pin KEY2_Pin KEY3_Pin KEY4_Pin
                           KEY5_Pin */
  GPIO_InitStruct.Pin = KEY1_Pin|KEY2_Pin|KEY3_Pin|KEY4_Pin
                          |KEY5_Pin;
  GPIO_InitStruct.Mode = GPIO_MODE_INPUT;
  GPIO_InitStruct.Pull = GPIO_PULLUP;
  HAL_GPIO_Init(GPIOB, &GPIO_InitStruct);

}

void StartDefaultTask(void const * argument)
{
  /* USER CODE BEGIN 5 */
    uart3_printf("Hello World!\n");

    osThreadDef(ButtonTask, ButtonTask, osPriorityNormal, 0, 128);
//    osThreadDef(LCDTask, LCDTask, osPriorityNormal, 0, 512);
    osThreadDef(UARTTask, UARTTask, osPriorityNormal, 0, 1024);
//    osThreadDef(CANTask, CANTask, osPriorityNormal, 0, 512);
    osThreadDef(FOCTask, FOCTask, osPriorityAboveNormal, 0, 2048);
    osThreadDef(ServoTask, ServoTask, osPriorityAboveNormal, 0, 256);

    portENTER_CRITICAL();
    ButtonTaskHandle = osThreadCreate(osThread(ButtonTask), NULL);
//    LCDTaskHandle = osThreadCreate(osThread(LCDTask), NULL);
    UARTTaskHandle = osThreadCreate(osThread(UARTTask), NULL);
//    CANTaskHandle = osThreadCreate(osThread(CANTask), NULL);
    FOCTaskHandle = osThreadCreate(osThread(FOCTask), NULL);
    ServoTaskHandle = osThreadCreate(osThread(ServoTask), NULL);
    portEXIT_CRITICAL();

    HAL_TIM_Base_Start_IT(&htim7);
    /* Infinite loop */
    for (;;) {
        HAL_GPIO_TogglePin(LED_GPIO_Port, LED_Pin);
        osDelay(500);
    }
  /* USER CODE END 5 */
}

void Error_Handler(void)
{
    __disable_irq();
    while (1) {
    }
}

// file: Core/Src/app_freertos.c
/* USER CODE BEGIN Header */
/**
  ******************************************************************************
  * File Name          : app_freertos.c
  * Description        : Code for freertos applications
  ******************************************************************************
  * @attention
  *
  * Copyright (c) 2023 STMicroelectronics.
  * All rights reserved.
  *
  * This software is licensed under terms that can be found in the LICENSE file
  * in the root directory of this software component.
  * If no LICENSE file comes with this software, it is provided AS-IS.
  *
  ******************************************************************************
  */
/* USER CODE END Header */

#include "FreeRTOS.h"
#include "task.h"
#include "main.h"

/* USER CODE BEGIN PM */
float targetAngle_left = 60;
float targetAngle_right = 0;
float targetMotorSpeed_Left;
float targetMotorSpeed_Right;

float offset_parameters = -20.0f;   //重心偏移
float yaw_pitch_roll[3];
/* USER CODE END PM */

/* USER CODE BEGIN Variables */
extern float angularDeviation;
/* USER CODE END Variables */

/* USER CODE BEGIN Application */
void FOCTask(void const *argument) {
    Pid_Value_Init();
    FOC_Vbus(12.3f);    //3s 电池

    HAL_GPIO_WritePin(Driver1_EN_GPIO_Port, Driver1_EN_Pin, 1);
    HAL_GPIO_WritePin(Driver2_EN_GPIO_Port, Driver2_EN_Pin, 1);
    FOC_alignSensor(&FOCMotor_Right, 7, 1);
    FOC_alignSensor(&FOCMotor_Left, 7, -1);

    for (;;) {
        Speed_PID.Target = Position_Pid_Calculate(&Balance_PID);
        Speed_PID.Actual = (FOCMotor_Left.speed + FOCMotor_Right.speed) / 2;
        Speed_PID.Error = Speed_PID.Target - Speed_PID.Actual;
        float targetSpeed_BySpeedPID = Position_Pid_Calculate(&Speed_PID);

        FOC_setVelocity_currentControl(&FOCMotor_Left, targetMotorSpeed_Left, FOCMotor_Left.currentLimited);
        FOC_setVelocity_currentControl(&FOCMotor_Right, targetMotorSpeed_Left, FOCMotor_Right.currentLimited);
        osDelay(3);
    }
}

void ServoTask(void const *argument) {
    Servo_init();

    setAngle_270(&Servo_LeftLeg, 60);
    setAngle_270(&Servo_RightLeg, 5);
    osDelay(500);

    for (;;) {
//        offset_parameters = -20.0f + (targetAngle_right - 25) * 0.1f;
        offset_parameters = -20.0f;
        setAngle_270(&Servo_LeftLeg, targetAngle_left);
        setAngle_270(&Servo_RightLeg, targetAngle_right);
        osDelay(300);
    }
}

void LCDTask(void const *argument) {
    uart3_printf("LCD Task Start\n");
    ST7735_Init();
    gui_draw_init("NinoC137", 1);
    for (;;) {
        osDelay(10);
    }
}

void UARTTask(void const *argument) {
    osEvent JsonQueueEvt;
    t_JsonPackage *JsonBuffer = NULL;

    for (;;) {
        JsonQueueEvt = osMessageGet(JsonQueueHandle, osWaitForever);

        if(JsonQueueEvt.status == osEventMessage){
            JsonBuffer = JsonQueueEvt.value.p;
//            uart3_printf("buffer:\r\n %s\r\n", JsonBuffer->JsonString);
            cmd_startParse(JsonBuffer->JsonString);
            osPoolFree(JsonQ_Mem, JsonBuffer);
        }

        Balance_PID.Target = offset_parameters;
        Balance_PID.Actual = yaw_pitch_roll[1];
        Balance_PID.Error = Balance_PID.Target - Balance_PID.Actual;
    }
}

void CANTask(void const *argument) {
    for (;;) {
        osDelay(1000);
    }
}

void ButtonTask(void const *argument) {
    button_init(&KEY1, read_KEY1_GPIO, 0);
    button_init(&KEY2, read_KEY2_GPIO, 0);
    button_init(&KEY3, read_KEY3_GPIO, 0);
    button_init(&KEY4, read_KEY4_GPIO, 0);
    button_init(&KEY5, read_KEY5_GPIO, 0);
    button_init(&KEY6, read_KEY6_GPIO, 0);

    button_attach(&KEY1, PRESS_DOWN, KEY1_PRESS_DOWN_Handler);
    button_attach(&KEY2, PRESS_DOWN, KEY2_PRESS_DOWN_Handler);
    button_attach(&KEY3, PRESS_DOWN, KEY3_PRESS_DOWN_Handler);
    button_attach(&KEY4, PRESS_DOWN, KEY4_PRESS_DOWN_Handler);
    button_attach(&KEY5, PRESS_DOWN, KEY5_PRESS_DOWN_Handler);
    button_attach(&KEY6, PRESS_DOWN, KEY6_PRESS_DOWN_Handler);

    button_start(&KEY1);
    button_start(&KEY2);
    button_start(&KEY3);
    button_start(&KEY4);
    button_start(&KEY5);
    button_start(&KEY6);

    for (;;) {
        button_ticks();
        osDelay(5);
    }
}
/* USER CODE END Application */
